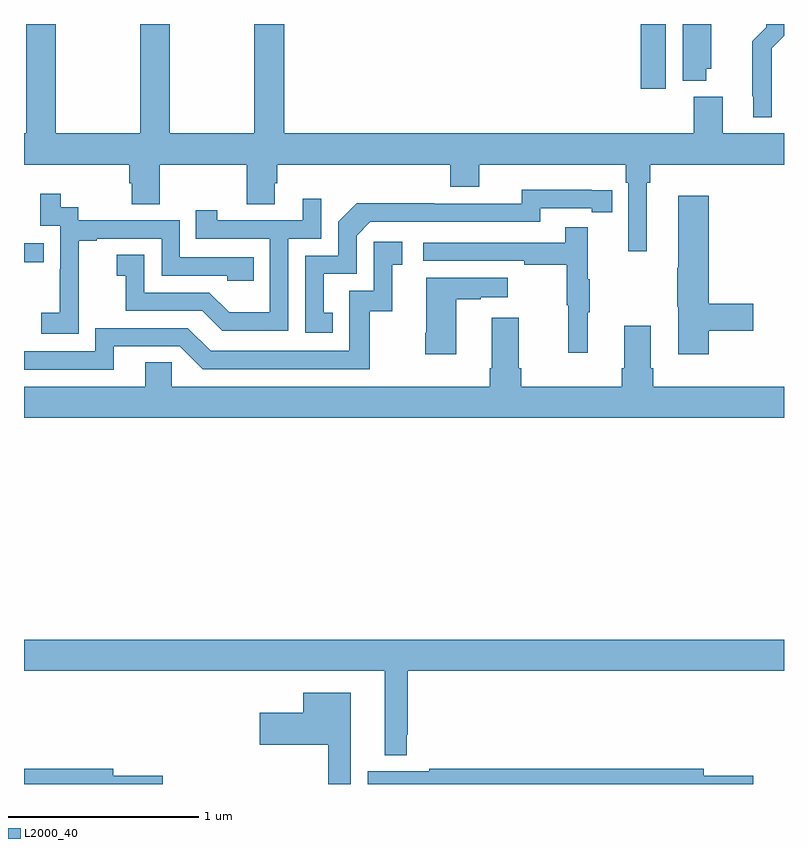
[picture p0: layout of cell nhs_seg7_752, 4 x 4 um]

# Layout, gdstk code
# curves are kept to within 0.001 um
import gdstk
lib = gdstk.Library(unit=1e-6, precision=1e-09)
def R(c, l, rs):  # rectangles x0, y0, x1, y1
    for r in rs: c.add(gdstk.rectangle(r[:2], r[2:], *l))
def P(c, l, *ps):  # polygons
    for p in ps: c.add(gdstk.Polygon(p, *l))
L2000_40 = (2000, 40)

nhs_seg7_752 = lib.new_cell('nhs_seg7_752')
R(nhs_seg7_752, L2000_40, [(167,1022.746,167.105,1022.847), (170.246,1023.66,170.377,1024)])
P(nhs_seg7_752, L2000_40, [(170.278,1023.164),(170.297,1023.164),(170.297,1023.26),(171,1023.26),(171,1023.424),(170.677,1023.424),(170.677,1023.616),(170.525,1023.616),(170.525,1023.424),(168.371,1023.424),(168.371,1024),(168.211,1024),(168.211,1023.424),(167.766,1023.424),(167.766,1024),(167.611,1024),(167.611,1023.424),(167.166,1023.424),(167.166,1024),(167.011,1024),(167.011,1023.424),(167,1023.424),(167,1023.26),(167.555,1023.26),(167.555,1023.162),(167.567,1023.162),(167.567,1023.052),(167.715,1023.052),(167.715,1023.26),(168.172,1023.26),(168.172,1023.052),(168.319,1023.052),(168.319,1023.162),(168.332,1023.162),(168.332,1023.26),(169.244,1023.26),(169.244,1023.143),(169.396,1023.143),(169.396,1023.26),(170.168,1023.26),(170.168,1023.164),(170.181,1023.164),(170.181,1022.805),(170.278,1022.805)],
  [(170.59,1023.765),(170.617,1023.765),(170.617,1024),(170.468,1024),(170.468,1023.701),(170.59,1023.701)],
  [(170.935,1023.872),(171,1023.937),(171,1024),(170.907,1024),(170.907,1023.984),(170.833,1023.91),(170.833,1023.619),(170.837,1023.619),(170.837,1023.509),(170.935,1023.509)],
  [(168.626,1022.481),(168.577,1022.481),(168.577,1022.685),(168.75,1022.685),(168.75,1022.886),(168.822,1022.958),(169.716,1022.958),(169.716,1023.03),(169.988,1023.03),(169.988,1023.01),(170.096,1023.01),(170.096,1023.126),(169.62,1023.127),(169.62,1023.054),(169.16,1023.054),(169.16,1023.056),(168.752,1023.056),(168.654,1022.958),(168.654,1022.781),(168.48,1022.781),(168.48,1022.376),(168.626,1022.376)],
  [(167.289,1022.575),(167.288,1022.575),(167.288,1022.859),(167.383,1022.859),(167.383,1022.871),(167.724,1022.871),(167.724,1022.676),(168.069,1022.676),(168.069,1022.649),(168.209,1022.649),(168.209,1022.772),(167.82,1022.772),(167.82,1022.967),(167.286,1022.967),(167.286,1023.036),(167.194,1023.036),(167.194,1023.106),(167.085,1023.106),(167.085,1022.937),(167.19,1022.937),(167.19,1022.708),(167.189,1022.708),(167.189,1022.479),(167.091,1022.479),(167.091,1022.369),(167.289,1022.369)],
  [(170.603,1022.386),(170.839,1022.386),(170.839,1022.528),(170.603,1022.528),(170.603,1023.097),(170.444,1023.097),(170.444,1022.717),(170.437,1022.717),(170.437,1022.511),(170.444,1022.511),(170.444,1022.262),(170.603,1022.262)],
  [(168.39,1022.871),(168.564,1022.871),(168.564,1023.079),(168.467,1023.079),(168.467,1022.967),(168.016,1022.967),(168.016,1023.019),(167.905,1023.019),(167.905,1022.871),(168.294,1022.871),(168.294,1022.482),(168.08,1022.482),(167.976,1022.586),(167.634,1022.586),(167.634,1022.785),(167.487,1022.785),(167.487,1022.675),(167.536,1022.675),(167.536,1022.49),(167.939,1022.49),(168.044,1022.385),(168.39,1022.385)],
  [(169.967,1022.483),(169.978,1022.483),(169.978,1022.657),(169.967,1022.657),(169.967,1022.929),(169.849,1022.929),(169.849,1022.85),(169.101,1022.85),(169.101,1022.754),(169.633,1022.754),(169.633,1022.734),(169.857,1022.734),(169.857,1022.52),(169.864,1022.52),(169.864,1022.271),(169.967,1022.271)],
  [(167.473,1022.304),(167.82,1022.304),(167.94,1022.184),(168.82,1022.184),(168.82,1022.487),(168.938,1022.487),(168.938,1022.733),(168.991,1022.733),(168.991,1022.854),(168.84,1022.854),(168.84,1022.595),(168.711,1022.595),(168.711,1022.28),(167.982,1022.28),(167.862,1022.4),(167.376,1022.4),(167.376,1022.277),(167,1022.277),(167,1022.181),(167.473,1022.181)],
  [(169.276,1022.551),(169.403,1022.551),(169.403,1022.561),(169.546,1022.561),(169.546,1022.665),(169.118,1022.665),(169.118,1022.374),(169.111,1022.374),(169.111,1022.262),(169.276,1022.262)],
  [(171,1022.092),(170.312,1022.092),(170.312,1022.188),(170.299,1022.188),(170.299,1022.413),(170.159,1022.413),(170.159,1022.188),(170.147,1022.188),(170.147,1022.092),(169.616,1022.092),(169.616,1022.188),(169.603,1022.188),(169.603,1022.455),(169.463,1022.455),(169.463,1022.188),(169.451,1022.188),(169.451,1022.092),(167.778,1022.092),(167.778,1022.219),(167.639,1022.219),(167.639,1022.092),(167,1022.092),(167,1021.928),(171,1021.928)],
  [(169.014,1020.259),(169.021,1020.259),(169.021,1020.596),(171,1020.596),(171,1020.76),(167,1020.76),(167,1020.596),(168.899,1020.596),(168.899,1020.152),(169.014,1020.152)],
  [(168.721,1020.481),(168.47,1020.481),(168.47,1020.376),(168.24,1020.376),(168.24,1020.206),(168.6,1020.206),(168.6,1020),(168.721,1020)],
  [(167.731,1020.044),(167.47,1020.044),(167.47,1020.08),(167,1020.08),(167,1020),(167.731,1020)],
  [(170.839,1020.044),(170.578,1020.044),(170.578,1020.08),(169.132,1020.08),(169.132,1020.067),(168.809,1020.067),(168.809,1020),(170.839,1020)])

lib.write_gds('nhs_seg7_752.gds')
